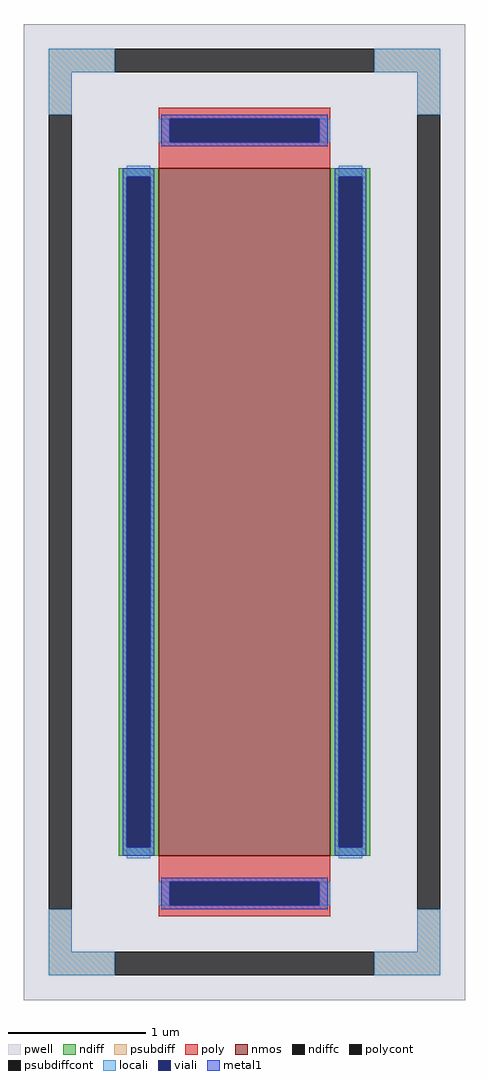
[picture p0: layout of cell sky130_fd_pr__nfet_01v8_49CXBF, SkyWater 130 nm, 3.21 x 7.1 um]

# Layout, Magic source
magic
tech sky130A
magscale 1 2
<< pwell >>
rect -321 -710 321 710
<< nmos >>
rect -125 -500 125 500
<< ndiff >>
rect -183 488 -125 500
rect -183 -488 -171 488
rect -137 -488 -125 488
rect -183 -500 -125 -488
rect 125 488 183 500
rect 125 -488 137 488
rect 171 -488 183 488
rect 125 -500 183 -488
<< ndiffc >>
rect -171 -488 -137 488
rect 137 -488 171 488
<< psubdiff >>
rect -285 640 -189 674
rect 189 640 285 674
rect -285 578 -251 640
rect 251 578 285 640
rect -285 -640 -251 -578
rect 251 -640 285 -578
rect -285 -674 -189 -640
rect 189 -674 285 -640
<< psubdiffcont >>
rect -189 640 189 674
rect -285 -578 -251 578
rect 251 -578 285 578
rect -189 -674 189 -640
<< poly >>
rect -125 572 125 588
rect -125 538 -109 572
rect 109 538 125 572
rect -125 500 125 538
rect -125 -538 125 -500
rect -125 -572 -109 -538
rect 109 -572 125 -538
rect -125 -588 125 -572
<< polycont >>
rect -109 538 109 572
rect -109 -572 109 -538
<< locali >>
rect -285 640 -189 674
rect 189 640 285 674
rect -285 578 -251 640
rect 251 578 285 640
rect -125 538 -109 572
rect 109 538 125 572
rect -171 488 -137 504
rect -171 -504 -137 -488
rect 137 488 171 504
rect 137 -504 171 -488
rect -125 -572 -109 -538
rect 109 -572 125 -538
rect -285 -640 -251 -578
rect 251 -640 285 -578
rect -285 -674 -189 -640
rect 189 -674 285 -640
<< viali >>
rect -109 538 109 572
rect -171 -488 -137 488
rect 137 -488 171 488
rect -109 -572 109 -538
<< metal1 >>
rect -121 572 121 578
rect -121 538 -109 572
rect 109 538 121 572
rect -121 532 121 538
rect -177 488 -131 500
rect -177 -488 -171 488
rect -137 -488 -131 488
rect -177 -500 -131 -488
rect 131 488 177 500
rect 131 -488 137 488
rect 171 -488 177 488
rect 131 -500 177 -488
rect -121 -538 121 -532
rect -121 -572 -109 -538
rect 109 -572 121 -538
rect -121 -578 121 -572
<< properties >>
string FIXED_BBOX -268 -657 268 657
string gencell sky130_fd_pr__nfet_01v8
string library sky130
string parameters w 5 l 1.25 m 1 nf 1 diffcov 100 polycov 100 guard 1 glc 1 grc 1 gtc 1 gbc 1 tbcov 100 rlcov 100 topc 1 botc 1 poverlap 0 doverlap 1 lmin 0.15 wmin 0.42 compatible {sky130_fd_pr__nfet_01v8 sky130_fd_pr__nfet_01v8_lvt  sky130_fd_bs_flash__special_sonosfet_star  sky130_fd_pr__nfet_g5v0d10v5 sky130_fd_pr__nfet_05v0_nvt  sky130_fd_pr__nfet_03v3_nvt} full_metal 1 viasrc 100 viadrn 100 viagate 100 viagb 0 viagr 0 viagl 0 viagt 0
<< end >>
